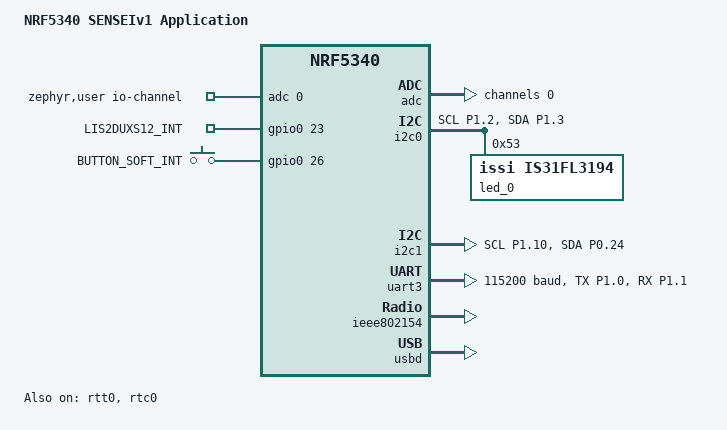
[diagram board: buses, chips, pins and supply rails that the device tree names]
// Copyright (c) 2025 ETH Zurich and University of Bologna
// SPDX-License-Identifier: Apache-2.0

/dts-v1/;
#include <nordic/nrf5340_cpuapp_qkaa.dtsi>
#include <zephyr/dt-bindings/input/input-event-codes.h>

#include <zephyr/dt-bindings/led/led.h>

/ {
	model = "NRF5340 SENSEIv1 Application";
	compatible = "eth-zurich,nrf5340-senseiv1-cpuapp";

	chosen {
		zephyr,console = &cdc_acm_uart0;
		zephyr,shell-uart = &cdc_acm_uart0;
		zephyr,uart-mcumgr = &cdc_acm_uart0;
		zephyr,bt-mon-uart = &cdc_acm_uart0;
		zephyr,bt-c2h-uart = &cdc_acm_uart0;
		zephyr,bt-uart = &cdc_acm_uart0;
		zephyr,bt-hci-ipc = &ipc0;
		nordic,802154-spinel-ipc = &ipc0;
		zephyr,ieee802154 = &ieee802154;
		zephyr,sram = &sram0;
		zephyr,flash = &flash0;
		zephyr,code-partition = &slot0_partition;
	};


	zephyr,user {
		/* adjust channel number according to pinmux in board.dts */
		io-channels = <&adc 0>;
	};

	aliases {
		i2ca = &i2c0;
		i2cb = &i2c1;
		uartgap = &uart_gap;
	};
	buttons{
		gpio_lis2duxs12_int1: gpio_lis2duxs12_int1 {
			gpios = <&gpio0 23 GPIO_ACTIVE_HIGH>;
			label = "LIS2DUXS12_INT";
		};
		gpio_soft_rst: gpio_soft_rst {
			gpios = <&gpio0 26 GPIO_ACTIVE_HIGH>;
			label = "BUTTON_SOFT_INT";
		};
	};
};

#include "nrf5340_senseiv1_shared.dtsi"

&pinctrl {
	i2c0_default: i2c0_default {
		group1 {
			psels = <NRF_PSEL(TWIM_SCL, 1, 2)>,
				<NRF_PSEL(TWIM_SDA, 1, 3)>;
		};
	};

	i2c0_sleep: i2c0_sleep {
		group1 {
			psels = <NRF_PSEL(TWIM_SCL, 1, 2)>,
				<NRF_PSEL(TWIM_SDA, 1, 3)>;
			low-power-enable;
		};
	};

	i2c1_default: i2c1_default {
		group1 {
			psels = <NRF_PSEL(TWIM_SCL, 1, 10)>,
				<NRF_PSEL(TWIM_SDA, 0, 24)>;
		};
	};

	i2c1_sleep: i2c1_sleep {
		group1 {
			psels = <NRF_PSEL(TWIM_SCL, 1, 10)>,
				<NRF_PSEL(TWIM_SDA, 0, 24)>;
			low-power-enable;
		};
	};

	uart_gap_default: uart0_default {
		group1 {
			psels = <NRF_PSEL(UART_TX, 1, 0)>,
				<NRF_PSEL(UART_RX, 1, 1)>;
		};
	};

	uart_gap_sleep: uart0_sleep {
		group1 {
			psels = <NRF_PSEL(UART_TX, 1, 0)>,
				<NRF_PSEL(UART_RX, 1, 1)>;
			low-power-enable;
		};
	};
};

&gpio0 {
	status = "okay";
};

&gpio1 {
	status = "okay";
};

&gpiote {
	status = "okay";
};

&adc {
	status = "okay";
};

&adc {
	#address-cells = <1>;
	#size-cells = <0>;
	channel@0 {
		reg = <0>;
		zephyr,gain = "ADC_GAIN_1_6";
		zephyr,reference = "ADC_REF_INTERNAL";
		zephyr,vref-mv = <3600>;
		zephyr,acquisition-time = <ADC_ACQ_TIME_DEFAULT>;
		zephyr,input-positive = <NRF_SAADC_AIN3>; /* P0.07 for nRF5340 */
		zephyr,resolution = <12>;
	};
};


&i2c0 {
	compatible = "nordic,nrf-twim";
	pinctrl-0 = <&i2c0_default>;
	pinctrl-1 = <&i2c0_sleep>;
	pinctrl-names = "default", "sleep";
	status = "okay";
};

&i2c1 {
	compatible = "nordic,nrf-twim";
	pinctrl-0 = <&i2c1_default>;
	pinctrl-1 = <&i2c1_sleep>;
	pinctrl-names = "default", "sleep";
	status = "okay";
};

&i2c0 {
	led_0: is31fl3194@53 {
		compatible = "issi,is31fl3194";
		reg = <0x53>;

		leds {
			label = "RGB LED";
			color-mapping =
				<LED_COLOR_ID_RED>,
				<LED_COLOR_ID_GREEN>,
				<LED_COLOR_ID_BLUE>;
			current-limit = <10>;
		};
	  };
};

uart_gap: &uart3{
	status = "okay";
	current-speed = <115200>;

	pinctrl-0 = <&uart_gap_default>;
	pinctrl-1 = <&uart_gap_sleep>;
	pinctrl-names = "default", "sleep";
};

&ieee802154 {
	status = "okay";
};

zephyr_udc0: &usbd {
	compatible = "nordic,nrf-usbd";
	status = "okay";
	cdc_acm_uart0: cdc_acm_uart0 {
		compatible = "zephyr,cdc-acm-uart";
	};
};


&rtt0 {
    status = "okay";
};

&rtc0 {
	status = "okay";
};

&flash0 {
	partitions {
		compatible = "fixed-partitions";
		#address-cells = <1>;
		#size-cells = <1>;

		boot_partition: partition@0 {
			label = "mcuboot";
			reg = <0x0 0x10000>;
		};
		slot0_partition: partition@10000 {
			label = "image-0";
			reg = <0x10000 0x70000>;
		};
		slot1_partition: partition@80000 {
			label = "image-1";
			reg = <0x80000 0x70000>;
		};
		scratch_partition: partition@f0000 {
			label = "image-scratch";
			reg = <0xf0000 0xa000>;
		};
		storage_partition: partition@fa000 {
			label = "storage";
			reg = <0xfa000 0x6000>;
		};
	};
};


